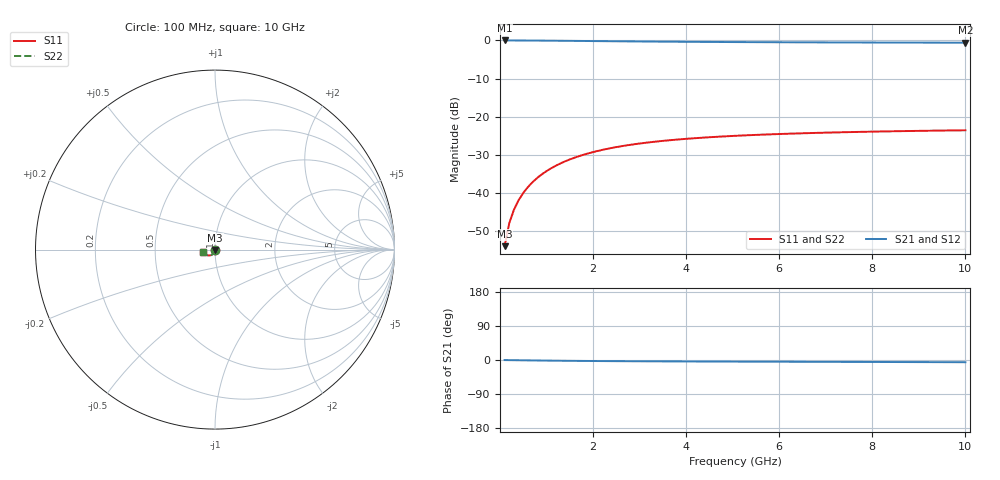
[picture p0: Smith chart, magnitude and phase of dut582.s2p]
! Touchstone file exported from HFSS 2024.1.0
!  File:  C:/UserFiles/LocalFiles/RDL_TSV_Batchsim/temp_TSV1_582_1779709295.aedt
!  Generated:  07:48:09 PM May 25, 2026
!  Design:  TSV1
!  Project:  temp_TSV1_582_1779709295
!  Setup:  Setup1
!  Solution:  Sweep
! Variables:
!  dtsv = 14.29um
!  hbump = 3um
!  htsv = 90.43um
!  lrdl = 252.1521522um
!  p = 40
!  p1 = 53.16um
!  t = 500um
!  trdl = 3um
!  wrdl = 24.89489489um
# GHz S MA R 50.000000
! Terminal data exported
! Port[1] = TSV22_T1
! Port[2] = TSV22_T2
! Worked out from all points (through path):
!   100 points, 100 MHz to 10 GHz, reference 50 ohm
!   highest |S21| = 0.00 dB at 100 MHz (marker M1); lowest = -0.6 dB at 10 GHz (marker M2)
!   lowest |S11| = -53.9 dB at 100 MHz (marker M3), VSWR 1.00, Z = 50 - j0.203 ohm
!   |S11| at or under -10 dB: start of sweep to end of sweep
!   |S22| runs from -53.9 to -23.5 dB; largest |S21 - S12| = 3.5e-15
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0.1  0.002029 -89.3  0.9998 -0.2  0.9998 -0.2  0.002029 -89.3
! Gamma 0 0 0 0
! Port Impedance 50 0 50 0
0.2  0.004056 -92.2  0.9996 -0.3  0.9996 -0.3  0.004056 -92.2
0.3  0.006079 -94.4  0.9993 -0.5  0.9993 -0.5  0.006079 -94.4
0.4  0.008089 -96.4  0.9988 -0.7  0.9988 -0.7  0.008089 -96.4
0.5  0.01008 -98.4  0.9983 -0.8  0.9983 -0.8  0.01008 -98.4
0.6  0.01204 -100.2  0.9976 -1.0  0.9976 -1.0  0.01204 -100.2
0.7  0.01396 -102.1  0.9968 -1.1  0.9968 -1.1  0.01396 -102.1
0.8  0.01585 -103.9  0.9959 -1.3  0.9959 -1.3  0.01585 -103.9
0.9  0.01769 -105.6  0.995 -1.4  0.995 -1.4  0.01769 -105.6
1.1  0.02123 -109.0  0.9929 -1.7  0.9929 -1.7  0.02123 -109.0
1.4  0.02616 -113.8  0.9894 -2.1  0.9894 -2.1  0.02616 -113.8
1.6  0.02917 -116.8  0.9868 -2.3  0.9868 -2.3  0.02917 -116.8
1.8  0.03197 -119.6  0.9843 -2.5  0.9843 -2.5  0.03197 -119.6
2.1  0.03577 -123.6  0.9804 -2.8  0.9804 -2.8  0.03577 -123.6
2.5  0.04017 -128.3  0.9754 -3.1  0.9754 -3.1  0.04017 -128.3
2.9  0.0439 -132.5  0.9707 -3.3  0.9707 -3.3  0.0439 -132.5
3.4  0.04778 -137.0  0.9655 -3.6  0.9655 -3.6  0.04778 -137.0
4.2  0.0526 -143.1  0.9584 -3.9  0.9584 -3.9  0.0526 -143.1
5.1  0.0566 -148.6  0.9522 -4.3  0.9522 -4.3  0.0566 -148.6
6.7  0.06142 -156.1  0.9442 -4.8  0.9442 -4.8  0.06142 -156.1
8.4  0.06467 -162.1  0.9386 -5.3  0.9386 -5.3  0.06467 -162.1
10  0.06673 -166.7  0.9349 -5.9  0.9349 -5.9  0.06673 -166.7
